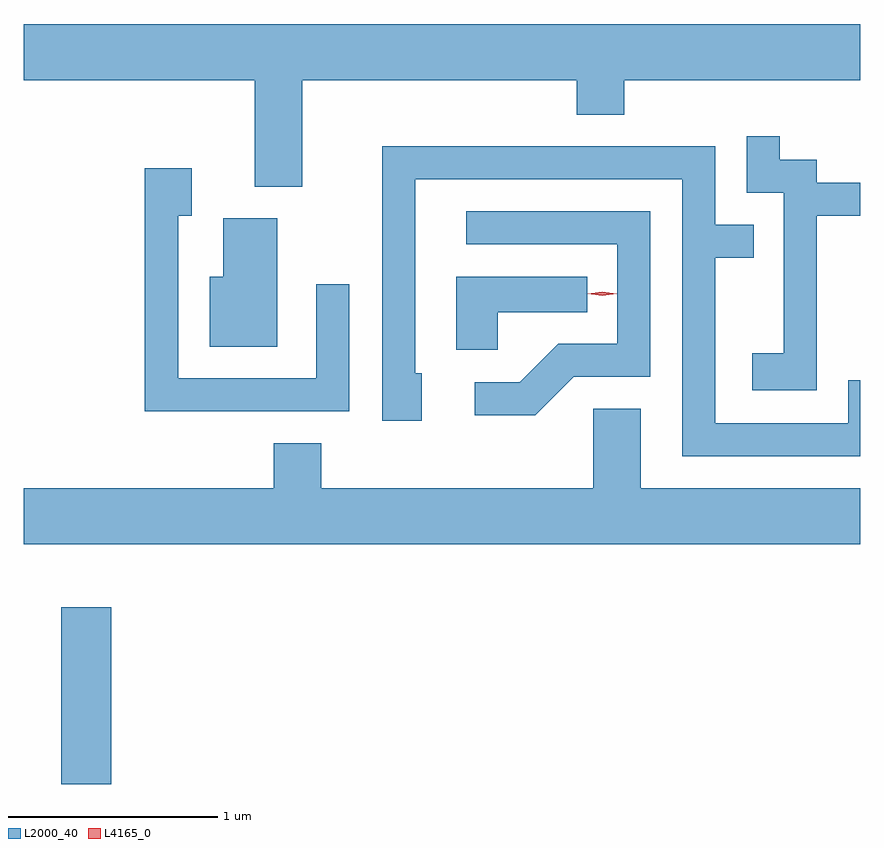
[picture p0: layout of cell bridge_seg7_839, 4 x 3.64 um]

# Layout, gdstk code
import gdstk
lib = gdstk.Library(unit=1e-6, precision=1e-09)
def R(c, l, rs):  # rectangles x0, y0, x1, y1
    for r in rs: c.add(gdstk.rectangle(r[:2], r[2:], *l))
def P(c, l, *ps):  # polygons
    for p in ps: c.add(gdstk.Polygon(p, *l))
L2000_40 = (2000, 40)
L4165_0 = (4165, 0)

bridge_seg7_839 = lib.new_cell('bridge_seg7_839')
R(bridge_seg7_839, L2000_40, [(298.876,1693.188,299.114,1694.034)])
P(bridge_seg7_839, L2000_40, [(300.029,1696.556),(301.341,1696.556),(301.341,1696.391),(301.569,1696.391),(301.569,1696.556),(302.697,1696.556),(302.697,1696.824),(298.697,1696.824),(298.697,1696.556),(299.801,1696.556),(299.801,1696.046),(300.029,1696.046)],
  [(302.489,1695.906),(302.697,1695.906),(302.697,1696.064),(302.489,1696.064),(302.489,1696.174),(302.314,1696.174),(302.314,1696.288),(302.156,1696.288),(302.156,1696.016),(302.331,1696.016),(302.331,1695.249),(302.181,1695.249),(302.181,1695.071),(302.489,1695.071)],
  [(302.697,1695.119),(302.641,1695.119),(302.641,1694.914),(302.004,1694.914),(302.004,1695.706),(302.188,1695.706),(302.188,1695.864),(302.004,1695.864),(302.004,1696.239),(300.411,1696.239),(300.411,1694.926),(300.599,1694.926),(300.599,1695.154),(300.569,1695.154),(300.569,1696.081),(301.846,1696.081),(301.846,1694.756),(302.697,1694.756)],
  [(300.254,1695.578),(300.096,1695.578),(300.096,1695.129),(299.434,1695.129),(299.434,1695.906),(299.499,1695.906),(299.499,1696.134),(299.276,1696.134),(299.276,1694.971),(300.254,1694.971)],
  [(301.327,1695.136),(301.694,1695.136),(301.694,1695.929),(300.813,1695.929),(300.813,1695.771),(301.536,1695.771),(301.536,1695.294),(301.254,1695.294),(301.069,1695.109),(300.853,1695.109),(300.853,1694.951),(301.142,1694.951)],
  [(299.909,1695.894),(299.651,1695.894),(299.651,1695.614),(299.586,1695.614),(299.586,1695.281),(299.909,1695.281)],
  [(300.964,1695.446),(301.393,1695.446),(301.393,1695.614),(300.766,1695.614),(300.766,1695.266),(300.964,1695.266)],
  [(302.697,1694.604),(301.649,1694.604),(301.649,1694.984),(301.421,1694.984),(301.421,1694.604),(300.119,1694.604),(300.119,1694.819),(299.891,1694.819),(299.891,1694.604),(298.697,1694.604),(298.697,1694.336),(302.697,1694.336)])
P(bridge_seg7_839, L4165_0, [(301.464,1695.524),(301.394,1695.533),(301.394,1695.534),(301.394,1695.534),(301.464,1695.544),(301.533,1695.534),(301.533,1695.534),(301.533,1695.533)])

lib.write_gds('bridge_seg7_839.gds')
